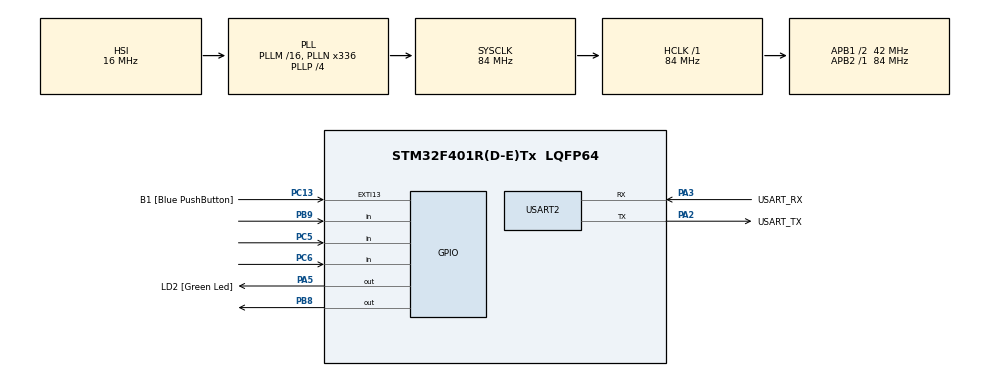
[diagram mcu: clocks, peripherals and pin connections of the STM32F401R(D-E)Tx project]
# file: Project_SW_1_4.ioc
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Mcu.Family=STM32F4
Mcu.Name=STM32F401R(D-E)Tx
Mcu.Package=LQFP64
NVIC.PriorityGroup=NVIC_PRIORITYGROUP_4
PA13.GPIO_Label=TMS
PA13.Mode=Trace_Asynchronous_SW
PA13.Signal=SYS_JTMS-SWDIO
PA14.GPIO_Label=TCK
PA14.Mode=Trace_Asynchronous_SW
PA14.Signal=SYS_JTCK-SWCLK
PA2.GPIO_Label=USART_TX
PA2.GPIO_Mode=GPIO_MODE_AF_PP
PA2.GPIO_PuPd=GPIO_NOPULL
PA2.GPIO_Speed=GPIO_SPEED_FREQ_LOW
PA2.Mode=Asynchronous
PA2.Signal=USART2_TX
PA3.GPIO_Label=USART_RX
PA3.GPIO_Mode=GPIO_MODE_AF_PP
PA3.GPIO_PuPd=GPIO_NOPULL
PA3.GPIO_Speed=GPIO_SPEED_FREQ_LOW
PA3.Mode=Asynchronous
PA3.Signal=USART2_RX
PA5.GPIO_Label=LD2 [Green Led]
PA5.GPIO_Mode=GPIO_MODE_OUTPUT_PP
PA5.GPIO_PuPd=GPIO_NOPULL
PA5.GPIO_Speed=GPIO_SPEED_FREQ_LOW
PA5.Signal=GPIO_Output
PB3.GPIO_Label=SWO
PB3.Mode=Trace_Asynchronous_SW
PB3.Signal=SYS_JTDO-SWO
PB8.GPIO_PuPd=GPIO_NOPULL
PB8.Signal=GPIO_Output
PB9.GPIO_PuPd=GPIO_NOPULL
PB9.Signal=GPIO_Input
PC13-ANTI_TAMP.GPIO_Label=B1 [Blue PushButton]
PC13-ANTI_TAMP.GPIO_ModeDefaultEXTI=GPIO_MODE_IT_FALLING
PC13-ANTI_TAMP.GPIO_PuPd=GPIO_NOPULL
PC13-ANTI_TAMP.Signal=GPXTI13
PC14-OSC32_IN.Mode=LSE-External-Oscillator
PC14-OSC32_IN.Signal=RCC_OSC32_IN
PC15-OSC32_OUT.Mode=LSE-External-Oscillator
PC15-OSC32_OUT.Signal=RCC_OSC32_OUT
PC5.GPIO_PuPd=GPIO_NOPULL
PC5.Signal=GPIO_Input
PC6.GPIO_PuPd=GPIO_NOPULL
PC6.Signal=GPIO_Input
PH0\ -\ OSC_IN.Mode=HSE-External-Clock-Source
PH0\ -\ OSC_IN.Signal=RCC_OSC_IN
PH1\ -\ OSC_OUT.Mode=HSE-External-Clock-Source
PH1\ -\ OSC_OUT.Signal=RCC_OSC_OUT
ProjectManager.HeapSize=0x200
ProjectManager.StackSize=0x400
ProjectManager.TargetToolchain=STM32CubeIDE
RCC.48MHZClocksFreq_Value=48000000
RCC.AHBFreq_Value=84000000
RCC.APB1CLKDivider=RCC_HCLK_DIV2
RCC.APB1Freq_Value=42000000
RCC.APB1TimFreq_Value=84000000
RCC.APB2Freq_Value=84000000
RCC.APB2TimFreq_Value=84000000
RCC.CortexFreq_Value=84000000
RCC.HCLKFreq_Value=84000000
RCC.HSE_VALUE=8000000
RCC.HSI_VALUE=16000000
RCC.PLLN=336
RCC.PLLP=RCC_PLLP_DIV4
RCC.PLLQ=7
RCC.SYSCLKFreq_VALUE=84000000
RCC.SYSCLKSource=RCC_SYSCLKSOURCE_PLLCLK
RCC.VCOOutputFreq_Value=336000000
USART2.VirtualMode=VM_ASYNC
board=NUCLEO-F401RE

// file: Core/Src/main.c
/* USER CODE BEGIN Header */
/**
  ******************************************************************************
  * @file           : main.c
  * @brief          : Main program body
  ******************************************************************************
  * @attention
  *
  * Copyright (c) 2025 STMicroelectronics.
  * All rights reserved.
  *
  * This software is licensed under terms that can be found in the LICENSE file
  * in the root directory of this software component.
  * If no LICENSE file comes with this software, it is provided AS-IS.
  *
  ******************************************************************************
  */
/* USER CODE END Header */
#include "main.h"

/* USER CODE BEGIN Includes */
#include <stdio.h>
#include <stdlib.h>
#include <string.h>
/* USER CODE END Includes */

UART_HandleTypeDef huart2;

/* USER CODE BEGIN PV */
int button1=0;
int button2=0;
int button3=0;
int button4=0;

/* USER CODE END PV */

void SystemClock_Config(void);
static void MX_GPIO_Init(void);
static void MX_USART2_UART_Init(void);
void send_button_state(uint8_t button_state);

int main(void)
{

  /* MCU Configuration--------------------------------------------------------*/

  /* Reset of all peripherals, Initializes the Flash interface and the Systick. */
  HAL_Init();

  /* Configure the system clock */
  SystemClock_Config();

  /* Initialize all configured peripherals */
  MX_GPIO_Init();
  MX_USART2_UART_Init();

  /* Infinite loop */
  /* USER CODE BEGIN WHILE */
  while (1)

  {
	  button1 = HAL_GPIO_ReadPin(GPIOB, GPIO_PIN_8);
	  button2 = HAL_GPIO_ReadPin(GPIOC, GPIO_PIN_6);
	  button3 = HAL_GPIO_ReadPin(GPIOB, GPIO_PIN_9);
	  button4 = HAL_GPIO_ReadPin(GPIOC, GPIO_PIN_5);

	  if (button1 == GPIO_PIN_SET){
		  send_button_state(1);
		  HAL_Delay(200);
	  }
	  else if (button2 == GPIO_PIN_SET){
		  send_button_state(2);
		  HAL_Delay(200);
	  }
	  else if (button3 == GPIO_PIN_SET){
		  send_button_state(3);
		  HAL_Delay(200);
	  }
	  else if (button4 == GPIO_PIN_SET){
		  send_button_state(4);
		  HAL_Delay(200);
	  }
    /* USER CODE END WHILE */

  }
}

void send_button_state(uint8_t button_state){
    char message[20];
    snprintf(message, sizeof(message), "SW%d Pressed\n\r", button_state);
    HAL_UART_Transmit(&huart2, (uint8_t*)message, strlen(message), HAL_MAX_DELAY);
}

void SystemClock_Config(void)
{
  RCC_OscInitTypeDef RCC_OscInitStruct = {0};
  RCC_ClkInitTypeDef RCC_ClkInitStruct = {0};

  /** Configure the main internal regulator output voltage
  */
  __HAL_RCC_PWR_CLK_ENABLE();
  __HAL_PWR_VOLTAGESCALING_CONFIG(PWR_REGULATOR_VOLTAGE_SCALE2);

  /** Initializes the RCC Oscillators according to the specified parameters
  * in the RCC_OscInitTypeDef structure.
  */
  RCC_OscInitStruct.OscillatorType = RCC_OSCILLATORTYPE_HSI;
  RCC_OscInitStruct.HSIState = RCC_HSI_ON;
  RCC_OscInitStruct.HSICalibrationValue = RCC_HSICALIBRATION_DEFAULT;
  RCC_OscInitStruct.PLL.PLLState = RCC_PLL_ON;
  RCC_OscInitStruct.PLL.PLLSource = RCC_PLLSOURCE_HSI;
  RCC_OscInitStruct.PLL.PLLM = 16;
  RCC_OscInitStruct.PLL.PLLN = 336;
  RCC_OscInitStruct.PLL.PLLP = RCC_PLLP_DIV4;
  RCC_OscInitStruct.PLL.PLLQ = 7;
  if (HAL_RCC_OscConfig(&RCC_OscInitStruct) != HAL_OK)
  {
    Error_Handler();
  }

  /** Initializes the CPU, AHB and APB buses clocks
  */
  RCC_ClkInitStruct.ClockType = RCC_CLOCKTYPE_HCLK|RCC_CLOCKTYPE_SYSCLK
                              |RCC_CLOCKTYPE_PCLK1|RCC_CLOCKTYPE_PCLK2;
  RCC_ClkInitStruct.SYSCLKSource = RCC_SYSCLKSOURCE_PLLCLK;
  RCC_ClkInitStruct.AHBCLKDivider = RCC_SYSCLK_DIV1;
  RCC_ClkInitStruct.APB1CLKDivider = RCC_HCLK_DIV2;
  RCC_ClkInitStruct.APB2CLKDivider = RCC_HCLK_DIV1;

  if (HAL_RCC_ClockConfig(&RCC_ClkInitStruct, FLASH_LATENCY_2) != HAL_OK)
  {
    Error_Handler();
  }
}

static void MX_USART2_UART_Init(void)
{

  huart2.Instance = USART2;
  huart2.Init.BaudRate = 115200;
  huart2.Init.WordLength = UART_WORDLENGTH_8B;
  huart2.Init.StopBits = UART_STOPBITS_1;
  huart2.Init.Parity = UART_PARITY_NONE;
  huart2.Init.Mode = UART_MODE_TX_RX;
  huart2.Init.HwFlowCtl = UART_HWCONTROL_NONE;
  huart2.Init.OverSampling = UART_OVERSAMPLING_16;
  if (HAL_UART_Init(&huart2) != HAL_OK)
  {
    Error_Handler();
  }

}

static void MX_GPIO_Init(void)
{
  GPIO_InitTypeDef GPIO_InitStruct = {0};

  /* GPIO Ports Clock Enable */
  __HAL_RCC_GPIOC_CLK_ENABLE();
  __HAL_RCC_GPIOH_CLK_ENABLE();
  __HAL_RCC_GPIOA_CLK_ENABLE();
  __HAL_RCC_GPIOB_CLK_ENABLE();

  /*Configure GPIO pin Output Level */
  HAL_GPIO_WritePin(LD2_GPIO_Port, LD2_Pin, GPIO_PIN_RESET);

  /*Configure GPIO pin Output Level */
  HAL_GPIO_WritePin(GPIOB, GPIO_PIN_8, GPIO_PIN_RESET);

  /*Configure GPIO pin : B1_Pin */
  GPIO_InitStruct.Pin = B1_Pin;
  GPIO_InitStruct.Mode = GPIO_MODE_IT_FALLING;
  GPIO_InitStruct.Pull = GPIO_NOPULL;
  HAL_GPIO_Init(B1_GPIO_Port, &GPIO_InitStruct);

  /*Configure GPIO pin : LD2_Pin */
  GPIO_InitStruct.Pin = LD2_Pin;
  GPIO_InitStruct.Mode = GPIO_MODE_OUTPUT_PP;
  GPIO_InitStruct.Pull = GPIO_NOPULL;
  GPIO_InitStruct.Speed = GPIO_SPEED_FREQ_LOW;
  HAL_GPIO_Init(LD2_GPIO_Port, &GPIO_InitStruct);

  /*Configure GPIO pins : PC5 PC6 */
  GPIO_InitStruct.Pin = GPIO_PIN_5|GPIO_PIN_6;
  GPIO_InitStruct.Mode = GPIO_MODE_INPUT;
  GPIO_InitStruct.Pull = GPIO_NOPULL;
  HAL_GPIO_Init(GPIOC, &GPIO_InitStruct);

  /*Configure GPIO pin : PB8 */
  GPIO_InitStruct.Pin = GPIO_PIN_8;
  GPIO_InitStruct.Mode = GPIO_MODE_OUTPUT_PP;
  GPIO_InitStruct.Pull = GPIO_NOPULL;
  GPIO_InitStruct.Speed = GPIO_SPEED_FREQ_LOW;
  HAL_GPIO_Init(GPIOB, &GPIO_InitStruct);

  /*Configure GPIO pin : PB9 */
  GPIO_InitStruct.Pin = GPIO_PIN_9;
  GPIO_InitStruct.Mode = GPIO_MODE_INPUT;
  GPIO_InitStruct.Pull = GPIO_NOPULL;
  HAL_GPIO_Init(GPIOB, &GPIO_InitStruct);

}

void Error_Handler(void)
{
  __disable_irq();
  while (1)
  {
  }
}
